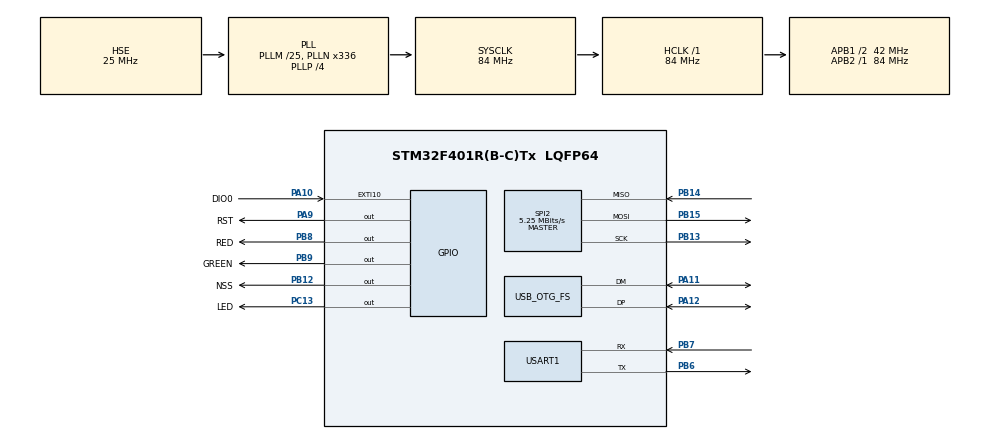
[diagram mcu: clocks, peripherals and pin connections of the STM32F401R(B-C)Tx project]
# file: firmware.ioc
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Mcu.Family=STM32F4
Mcu.Name=STM32F401R(B-C)Tx
Mcu.Package=LQFP64
NVIC.EXTI15_10_IRQn=true\:0\:0\:false\:false\:true\:true\:true\:true
NVIC.OTG_FS_IRQn=true\:0\:0\:false\:false\:true\:true\:true\:true
NVIC.PriorityGroup=NVIC_PRIORITYGROUP_4
PA10.GPIO_Label=DIO0
PA10.Signal=GPXTI10
PA11.Mode=Device_Only
PA11.Signal=USB_OTG_FS_DM
PA12.Mode=Device_Only
PA12.Signal=USB_OTG_FS_DP
PA13.Mode=Serial_Wire
PA13.Signal=SYS_JTMS-SWDIO
PA14.Mode=Serial_Wire
PA14.Signal=SYS_JTCK-SWCLK
PA9.GPIO_Label=RST
PA9.PinState=GPIO_PIN_SET
PA9.Signal=GPIO_Output
PB12.GPIO_Label=NSS
PB12.PinState=GPIO_PIN_SET
PB12.Signal=GPIO_Output
PB13.Mode=Full_Duplex_Master
PB13.Signal=SPI2_SCK
PB14.Mode=Full_Duplex_Master
PB14.Signal=SPI2_MISO
PB15.Mode=Full_Duplex_Master
PB15.Signal=SPI2_MOSI
PB6.Mode=Asynchronous
PB6.Signal=USART1_TX
PB7.Mode=Asynchronous
PB7.Signal=USART1_RX
PB8.GPIO_Label=RED
PB8.GPIO_ModeDefaultOutputPP=GPIO_MODE_OUTPUT_OD
PB8.GPIO_PuPd=GPIO_NOPULL
PB8.Signal=GPIO_Output
PB9.GPIO_Label=GREEN
PB9.GPIO_ModeDefaultOutputPP=GPIO_MODE_OUTPUT_OD
PB9.GPIO_PuPd=GPIO_NOPULL
PB9.Signal=GPIO_Output
PC13-ANTI_TAMP.GPIO_Label=LED
PC13-ANTI_TAMP.Signal=GPIO_Output
PH0\ -\ OSC_IN.Mode=HSE-External-Oscillator
PH0\ -\ OSC_IN.Signal=RCC_OSC_IN
PH1\ -\ OSC_OUT.Mode=HSE-External-Oscillator
PH1\ -\ OSC_OUT.Signal=RCC_OSC_OUT
ProjectManager.HeapSize=0x200
ProjectManager.StackSize=0x400
ProjectManager.TargetToolchain=Makefile
RCC.48MHZClocksFreq_Value=48000000
RCC.AHBFreq_Value=84000000
RCC.APB1CLKDivider=RCC_HCLK_DIV2
RCC.APB1Freq_Value=42000000
RCC.APB1TimFreq_Value=84000000
RCC.APB2Freq_Value=84000000
RCC.APB2TimFreq_Value=84000000
RCC.CortexFreq_Value=84000000
RCC.HCLKFreq_Value=84000000
RCC.HSE_VALUE=25000000
RCC.HSI_VALUE=16000000
RCC.LSE_VALUE=32768
RCC.PLLM=25
RCC.PLLN=336
RCC.PLLP=RCC_PLLP_DIV4
RCC.PLLQ=7
RCC.SYSCLKFreq_VALUE=84000000
RCC.SYSCLKSource=RCC_SYSCLKSOURCE_PLLCLK
RCC.VCOOutputFreq_Value=336000000
SPI2.BaudRatePrescaler=SPI_BAUDRATEPRESCALER_8
SPI2.CalculateBaudRate=5.25 MBits/s
SPI2.Direction=SPI_DIRECTION_2LINES
SPI2.Mode=SPI_MODE_MASTER
SPI2.VirtualType=VM_MASTER
USART1.VirtualMode=VM_ASYNC
USB_OTG_FS.VirtualMode=Device_Only
VP_CRC_VS_CRC.Mode=CRC_Activate
board=custom

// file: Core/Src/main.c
/* USER CODE BEGIN Header */
/**
  ******************************************************************************
  * @file           : main.c
  * @brief          : Main program body
  ******************************************************************************
  * @attention
  *
  * Copyright (c) 2024 STMicroelectronics.
  * All rights reserved.
  *
  * This software is licensed under terms that can be found in the LICENSE file
  * in the root directory of this software component.
  * If no LICENSE file comes with this software, it is provided AS-IS.
  *
  ******************************************************************************
  */
/* USER CODE END Header */
#include "main.h"
#include "crc.h"
#include "spi.h"
#include "stm32f4xx_hal.h"
#include "usart.h"
#include "usb_otg.h"
#include "gpio.h"

/* USER CODE BEGIN Includes */
#include <stdint.h>

#include "LoRa.h"
#include "common.h"
/* USER CODE END Includes */

/* USER CODE BEGIN PV */
LoRa rf;

uint32_t exti_rf = false;
uint32_t exti_rf_timestamp = 0;

uint8_t id = DEVICE_ID_INVALID;

uint32_t mode = MODE_STARTUP;
/* USER CODE END PV */

void SystemClock_Config(void);

/* USER CODE BEGIN 0 */
void HAL_GPIO_EXTI_Callback(uint16_t GPIO_Pin) {
  // RF data received
  if (GPIO_Pin == DIO0_Pin) {
    exti_rf = true;
    exti_rf_timestamp = HAL_GetTick();
    HAL_GPIO_WritePin(LED_GPIO_Port, LED_Pin, GPIO_PIN_RESET);
  }
}
/* USER CODE END 0 */

int main(void)
{

  /* MCU Configuration--------------------------------------------------------*/

  /* Reset of all peripherals, Initializes the Flash interface and the Systick. */
  HAL_Init();

  /* Configure the system clock */
  SystemClock_Config();

  /* Initialize all configured peripherals */
  MX_GPIO_Init();
  MX_SPI2_Init();
  MX_CRC_Init();
  MX_USART1_UART_Init();
  MX_USB_OTG_FS_PCD_Init();
  /* USER CODE BEGIN 2 */
  HAL_GPIO_WritePin(LED_GPIO_Port, LED_Pin, GPIO_PIN_SET);

  // get device id
  id = get_device_id();
  DEBUG_MSG("id: %d\n", id);

  // init Ra-01H LoRa transceiver
  rf = newLoRa();
  rf.CS_port = NSS_GPIO_Port;
  rf.CS_pin = NSS_Pin;
  rf.reset_port = RST_GPIO_Port;
  rf.reset_pin = RST_Pin;
  rf.DIO0_port = DIO0_GPIO_Port;
  rf.DIO0_pin = DIO0_Pin;
  rf.hSPIx = &hspi2;

  rf.frequency = 923;             // CH 30 922.9 Mhz
  rf.spredingFactor = SF_7;
  rf.bandWidth = BW_125KHz;
  rf.crcRate = CR_4_5;
  rf.power = POWER_14db;          // 25 mW
  rf.overCurrentProtection = 100; // 100 mA
  rf.preamble = 8;

  if (LoRa_init(&rf) != LORA_OK) {
    Error_Handler();
  }

  // start LSNTP time sync
  LoRa_startReceiving(&rf);
  mode = MODE_LSNTP;
  /* USER CODE END 2 */

  /* Infinite loop */
  /* USER CODE BEGIN WHILE */
  uint8_t buf[128];

  while (true) {
    // wait for the request
    while (!exti_rf);
    HAL_GPIO_WritePin(LED_GPIO_Port, LED_Pin, GPIO_PIN_SET);

    lora_lsntp_t *pkt = (lora_lsntp_t *)buf;
    uint8_t recv_bytes = LoRa_receive(&rf, buf, sizeof(lora_lsntp_t));
    exti_rf = false;

    // no full packet received
    if (recv_bytes != sizeof(lora_lsntp_t)) {
      continue;
    }

    // checksum failure
    if (lora_verify(id, &pkt->header, sizeof(lora_lsntp_t)) == LORA_STATUS_OK) {
      continue;
    }

    // wrong packet
    if (pkt->header.protocol != LORA_LSNTP_REQ) {
      continue;
    }

    pkt->header.protocol = LORA_LSNTP_RES;
    pkt->header.receiver = pkt->header.sender;
    pkt->header.sender = id;
    pkt->server_req_rx = exti_rf_timestamp;
    pkt->server_res_tx = HAL_GetTick();
    lora_set_checksum(&pkt->header, sizeof(lora_lsntp_t));
    LoRa_transmit(&rf, (uint8_t *)pkt, sizeof(lora_lsntp_t), 500);

    /* USER CODE END WHILE */

  }
}

void SystemClock_Config(void)
{
  RCC_OscInitTypeDef RCC_OscInitStruct = {0};
  RCC_ClkInitTypeDef RCC_ClkInitStruct = {0};

  /** Configure the main internal regulator output voltage
  */
  __HAL_RCC_PWR_CLK_ENABLE();
  __HAL_PWR_VOLTAGESCALING_CONFIG(PWR_REGULATOR_VOLTAGE_SCALE2);

  /** Initializes the RCC Oscillators according to the specified parameters
  * in the RCC_OscInitTypeDef structure.
  */
  RCC_OscInitStruct.OscillatorType = RCC_OSCILLATORTYPE_HSE;
  RCC_OscInitStruct.HSEState = RCC_HSE_ON;
  RCC_OscInitStruct.PLL.PLLState = RCC_PLL_ON;
  RCC_OscInitStruct.PLL.PLLSource = RCC_PLLSOURCE_HSE;
  RCC_OscInitStruct.PLL.PLLM = 25;
  RCC_OscInitStruct.PLL.PLLN = 336;
  RCC_OscInitStruct.PLL.PLLP = RCC_PLLP_DIV4;
  RCC_OscInitStruct.PLL.PLLQ = 7;
  if (HAL_RCC_OscConfig(&RCC_OscInitStruct) != HAL_OK)
  {
    Error_Handler();
  }

  /** Initializes the CPU, AHB and APB buses clocks
  */
  RCC_ClkInitStruct.ClockType = RCC_CLOCKTYPE_HCLK|RCC_CLOCKTYPE_SYSCLK
                              |RCC_CLOCKTYPE_PCLK1|RCC_CLOCKTYPE_PCLK2;
  RCC_ClkInitStruct.SYSCLKSource = RCC_SYSCLKSOURCE_PLLCLK;
  RCC_ClkInitStruct.AHBCLKDivider = RCC_SYSCLK_DIV1;
  RCC_ClkInitStruct.APB1CLKDivider = RCC_HCLK_DIV2;
  RCC_ClkInitStruct.APB2CLKDivider = RCC_HCLK_DIV1;

  if (HAL_RCC_ClockConfig(&RCC_ClkInitStruct, FLASH_LATENCY_2) != HAL_OK)
  {
    Error_Handler();
  }
}

void Error_Handler(void)
{
  /* USER CODE BEGIN Error_Handler_Debug */
  /* User can add his own implementation to report the HAL error return state */
  DEBUG_MSG("ERROR!\n");

  while (1) {
    HAL_GPIO_TogglePin(LED_GPIO_Port, LED_Pin);
    HAL_Delay(100);
  }
  /* USER CODE END Error_Handler_Debug */
}
